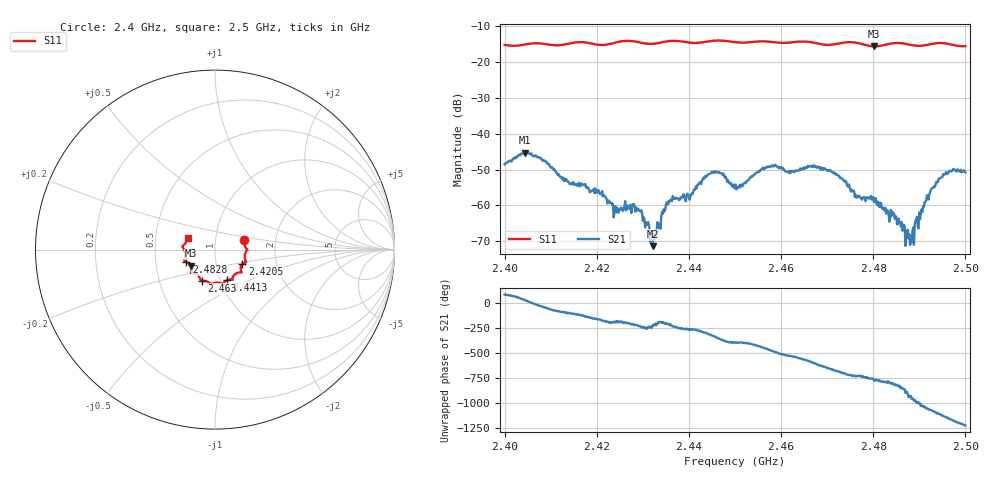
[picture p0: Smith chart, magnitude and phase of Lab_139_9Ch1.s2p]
# Hz S RI R 50
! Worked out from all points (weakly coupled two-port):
!   601 points, 2.4 GHz to 2.5 GHz, reference 50 ohm
!   highest |S21| = -45.32 dB at 2.4045 GHz (marker M1); lowest = -71.3 dB at 2.4322 GHz (marker M2)
!   lowest |S11| = -15.7 dB at 2.4802 GHz (marker M3), VSWR 1.39, Z = 37.5 - j6.96 ohm
!   |S11| at or under -10 dB: start of sweep to end of sweep
!   S12 and S22 are empty: the file has one direction only
!   S11 on the Smith chart (normalised r, x): 2.4 GHz: 1.38, +0.15; 2.4205 GHz: 1.34, -0.22; 2.4413 GHz: 1.08, -0.38; 2.463 GHz: 0.82, -0.29; 2.4828 GHz: 0.72, -0.10; 2.5 GHz: 0.73, +0.10
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2.4e9  0.1627 0.0525  0.000144 0.00374  0 0  0 0
2.4045e9  0.1738 0.00621  0.00469 0.00272  0 0  0 0
2.416667e9  0.1737 -0.0698  -0.000957 -0.00179  0 0  0 0
2.4205e9  0.1516 -0.0808  -0.00145 -0.000427  0 0  0 0
2.424167e9  0.1443 -0.1161  -0.000927 1.54e-05  0 0  0 0
2.429333e9  0.135 -0.127  -0.000529 0.000643  0 0  0 0
2.432167e9  0.1068 -0.1417  -0.000211 0.000171  0 0  0 0
2.433333e9  0.1001 -0.1516  -0.000454 7.73e-05  0 0  0 0
2.435667e9  0.0978 -0.1669  -0.00101 0.000578  0 0  0 0
2.441333e9  0.0674 -0.1695  -0.000122 0.00166  0 0  0 0
2.4455e9  0.0426 -0.1917  0.00256 0.00131  0 0  0 0
2.45e9  0.0244 -0.1852  0.0014 -0.00102  0 0  0 0
2.4575e9  -0.0274 -0.1876  -0.0011 -0.00323  0 0  0 0
2.463e9  -0.0723 -0.1737  -0.00297 -0.000166  0 0  0 0
2.466667e9  -0.0813 -0.1674  -0.00222 0.0028  0 0  0 0
2.480167e9  -0.136 -0.0903  0.000657 -0.000887  0 0  0 0
2.482833e9  -0.1589 -0.0701  0.000281 -0.000716  0 0  0 0
2.483333e9  -0.1627 -0.0683  0.000208 -0.000754  0 0  0 0
2.488333e9  -0.1651 -0.0435  -0.000157 0.000266  0 0  0 0
2.491333e9  -0.1696 -0.00531  0.000888 0.000691  0 0  0 0
2.494167e9  -0.181 0.0156  0.00212 -0.00105  0 0  0 0
2.5e9  -0.1516 0.0643  -0.0024 -0.0016  0 0  0 0
